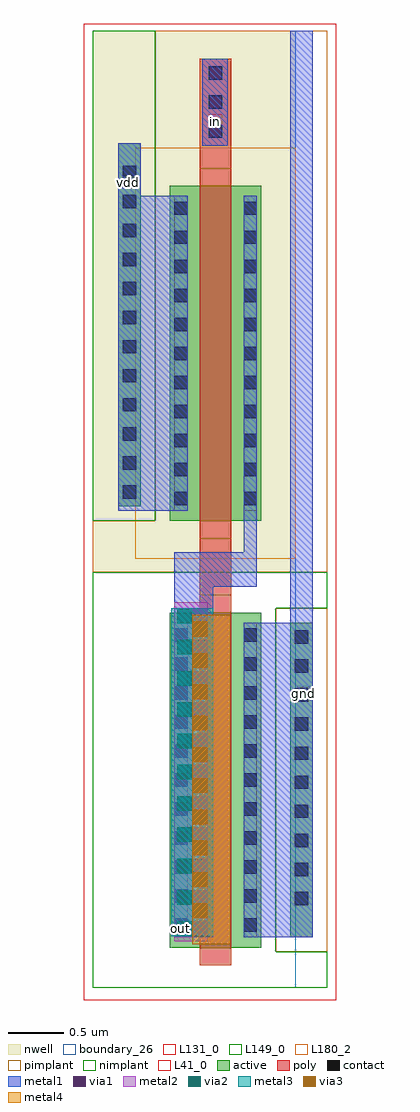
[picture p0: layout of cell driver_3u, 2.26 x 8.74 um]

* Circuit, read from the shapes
.subckt driver_3u gnd in out vdd
M1 gnd in out gnd nfet w=3u l=0.28u
M2 out in vdd vdd pfet w=3u l=0.28u
.ends

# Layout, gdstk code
from math import pi, radians
import gdstk
lib = gdstk.Library(unit=1e-6, precision=1e-09)
def R(c, l, rs):  # rectangles x0, y0, x1, y1
    for r in rs: c.add(gdstk.rectangle(r[:2], r[2:], *l))
def A(c, l, x, y, w, h, nx, ny, dx, dy):  # array of equal rectangles
    R(c, l, [(x+i*dx, y+j*dy, x+i*dx+w, y+j*dy+h) for i in range(nx) for j in range(ny)])
nwell = (3, 0)
active = (6, 0)
poly = (17, 0)
pimplant = (25, 0)
nimplant = (26, 0)
contact = (30, 0)
metal1 = (31, 0)
metal2 = (32, 0)
metal3 = (33, 0)
metal4 = (34, 0)
L41_0 = (41, 0)
via1 = (51, 0)
via2 = (52, 0)
via3 = (53, 0)
boundary_26 = (108, 26)
L131_0 = (131, 0)
L149_0 = (149, 0)
L180_2 = (180, 2)

pc_ct = lib.new_cell('pc_ct')
R(pc_ct, contact, [(0,0,0.12,0.12)])

nsvt25_cdns_578001170880 = lib.new_cell('nsvt25_CDNS_578001170880')
R(nsvt25_cdns_578001170880, active, [(-0.27,0,0,3), (-0.27,0,0.55,3), (0.28,0,0.55,3)])
R(nsvt25_cdns_578001170880, poly, [(0,-0.16,0.28,3.16)])
R(nsvt25_cdns_578001170880, nimplant, [(-0.4,-0.36,0.68,3.36)])
R(nsvt25_cdns_578001170880, metal1, [(-0.23,0.09,-0.11,2.91), (0.39,0.09,0.51,2.91)])
R(nsvt25_cdns_578001170880, L41_0, [(-0.54,-0.34,0.82,3.34)])
R(nsvt25_cdns_578001170880, L131_0, [(-0.23,0.09,-0.11,2.91), (0.39,0.09,0.51,2.91)])
R(nsvt25_cdns_578001170880, L149_0, [(0,-0.16,0.28,0), (0,3,0.28,3.16)])
r = gdstk.Reference(pc_ct, (0.39,0.14)); r.repetition = gdstk.Repetition(1, 11, v1=(0.26,0), v2=(0,0.26)); nsvt25_cdns_578001170880.add(r)
r = gdstk.Reference(pc_ct, (-0.23,0.14)); r.repetition = gdstk.Repetition(1, 11, v1=(0.26,0), v2=(0,0.26)); nsvt25_cdns_578001170880.add(r)
nsvt25_cdns_578001170880.add(gdstk.Label('d', (0.28,0), layer=6, texttype=0))
nsvt25_cdns_578001170880.add(gdstk.Label('s', (0,0), layer=6, texttype=0))
nsvt25_cdns_578001170880.add(gdstk.Label('d', (0.415,1.5), layer=127, texttype=0))
nsvt25_cdns_578001170880.add(gdstk.Label('s', (-0.135,1.5), layer=127, texttype=0))
nsvt25_cdns_578001170880.add(gdstk.Label('d', (0.45,1.5), layer=131, texttype=0))
nsvt25_cdns_578001170880.add(gdstk.Label('s', (-0.17,1.5), layer=131, texttype=0))
nsvt25_cdns_578001170880.add(gdstk.Label('g', (0.14,3.08), layer=149, texttype=0))
nsvt25_cdns_578001170880.add(gdstk.Label('g', (0.14,-0.08), layer=149, texttype=0))

psvt25_cdns_578001170881 = lib.new_cell('psvt25_CDNS_578001170881')
R(psvt25_cdns_578001170881, active, [(-0.27,0,0,3), (-0.27,0,0.55,3), (0.28,0,0.55,3)])
R(psvt25_cdns_578001170881, poly, [(0,-0.16,0.28,3.16)])
R(psvt25_cdns_578001170881, pimplant, [(-0.4,-0.36,0.68,3.36)])
R(psvt25_cdns_578001170881, metal1, [(-0.23,0.09,-0.11,2.91), (0.39,0.09,0.51,2.91)])
R(psvt25_cdns_578001170881, L41_0, [(-0.58,-0.34,0.86,3.34)])
R(psvt25_cdns_578001170881, L131_0, [(-0.23,0.09,-0.11,2.91), (0.39,0.09,0.51,2.91)])
R(psvt25_cdns_578001170881, L149_0, [(0,-0.16,0.28,0), (0,3,0.28,3.16)])
R(psvt25_cdns_578001170881, L180_2, [(-0.58,-0.34,0.86,3.34)])
r = gdstk.Reference(pc_ct, (0.39,0.14)); r.repetition = gdstk.Repetition(1, 11, v1=(0.26,0), v2=(0,0.26)); psvt25_cdns_578001170881.add(r)
r = gdstk.Reference(pc_ct, (-0.23,0.14)); r.repetition = gdstk.Repetition(1, 11, v1=(0.26,0), v2=(0,0.26)); psvt25_cdns_578001170881.add(r)
psvt25_cdns_578001170881.add(gdstk.Label('d', (0.28,0), layer=6, texttype=0))
psvt25_cdns_578001170881.add(gdstk.Label('s', (0,0), layer=6, texttype=0))
psvt25_cdns_578001170881.add(gdstk.Label('d', (0.415,1.5), layer=127, texttype=0))
psvt25_cdns_578001170881.add(gdstk.Label('s', (-0.135,1.5), layer=127, texttype=0))
psvt25_cdns_578001170881.add(gdstk.Label('d', (0.45,1.5), layer=131, texttype=0))
psvt25_cdns_578001170881.add(gdstk.Label('s', (-0.17,1.5), layer=131, texttype=0))
psvt25_cdns_578001170881.add(gdstk.Label('g', (0.14,3.08), layer=149, texttype=0))
psvt25_cdns_578001170881.add(gdstk.Label('g', (0.14,-0.08), layer=149, texttype=0))
psvt25_cdns_578001170881.add(gdstk.Label('b', (0.14,1.5), layer=180, texttype=2))

m1__po_cdns_578001170880 = lib.new_cell('M1__PO_CDNS_578001170880')
R(m1__po_cdns_578001170880, poly, [(-0.08,-0.37,0.08,0.37)])
A(m1__po_cdns_578001170880, contact, -0.06, -0.32, 0.12, 0.12, 1, 3, 0, 0.26)
R(m1__po_cdns_578001170880, metal1, [(-0.06,-0.37,0.06,0.37)])

m2_m1_s_cdns_57800117088 = lib.new_cell('M2_M1_S_CDNS_578001170881')
R(m2_m1_s_cdns_57800117088, metal1, [(-1.47,-0.115,1.47,0.115)])
R(m2_m1_s_cdns_57800117088, metal2, [(-1.515,-0.07,1.515,0.07)])
A(m2_m1_s_cdns_57800117088, via1, -1.465, -0.065, 0.13, 0.13, 11, 1, 0.28, 0)

m4_m3_s_cdns_57800117088 = lib.new_cell('M4_M3_S_CDNS_578001170882')
R(m4_m3_s_cdns_57800117088, metal3, [(-1.33,-0.115,1.33,0.115)])
R(m4_m3_s_cdns_57800117088, metal4, [(-1.375,-0.07,1.375,0.07)])
A(m4_m3_s_cdns_57800117088, via3, -1.325, -0.065, 0.13, 0.13, 10, 1, 0.28, 0)

m3_m2_s_cdns_57800117088 = lib.new_cell('M3_M2_S_CDNS_578001170883')
R(m3_m2_s_cdns_57800117088, metal2, [(-1.515,-0.07,1.515,0.07)])
R(m3_m2_s_cdns_57800117088, metal3, [(-1.47,-0.115,1.47,0.115)])
A(m3_m2_s_cdns_57800117088, via2, -1.465, -0.065, 0.13, 0.13, 11, 1, 0.28, 0)

driver_3u = lib.new_cell('driver_3u')
R(driver_3u, nwell, [(0,3.72,1.82,8.57), (0.1,3.72,1.82,8.57)])
R(driver_3u, pimplant, [(0,3.72,0.56,4.18), (0.56,3.72,1.64,3.82), (1.64,3.72,2.1,8.57), (0.56,7.54,1.64,8.57)])
R(driver_3u, nimplant, [(0,0,0.56,3.72), (1.64,0,2.1,0.32), (1.64,3.4,2.1,3.72), (0,4.18,0.56,8.57)])
A(driver_3u, contact, 1.81, 0.74, 0.12, 0.12, 1, 10, 0, 0.26)
A(driver_3u, contact, 0.27, 4.38, 0.12, 0.12, 1, 12, 0, 0.26)
R(driver_3u, metal1, [(0.85,0.45,1.08,3.59), (1.47,0.45,1.77,3.27), (0.73,3.71,1.35,3.9), (0.23,4.27,0.43,4.31), (0.43,4.27,0.73,7.09), (0.98,7.54,1.21,8.32)])
R(driver_3u, metal2, [(0.73,0.415,1.03,3.45)])
R(driver_3u, metal3, [(0.705,0.46,1.08,3.4)])
R(driver_3u, metal4, [(0.89,0.39,1.2,0.575), (1.2,0.39,1.23,3.34), (0.89,0.575,1.2,3.34)])
R(driver_3u, L41_0, [(-0.08,-0.11,2.18,8.63)])
R(driver_3u, boundary_26, [(0,0,1.82,8.57)])
R(driver_3u, L131_0, [(0.73,0.47,0.85,0.59), (1.83,2.574,1.95,2.694), (0.262,7.154,0.382,7.274), (1.04,7.7,1.16,7.82)])
driver_3u.add(gdstk.FlexPath([(1.87,3.4),(1.87,0.32)], 0.46, ends="flush", simple_path=True, layer=25, datatype=0))  # pimplant
driver_3u.add(gdstk.FlexPath([(0.33,4.18),(0.33,7.69)], 0.46, ends="flush", simple_path=True, layer=26, datatype=0))  # nimplant
driver_3u.add(gdstk.FlexPath([(1.1,3.49),(1.1,4.02)], 0.28, ends="flush", simple_path=True, layer=17, datatype=0))  # poly
driver_3u.add(gdstk.FlexPath([(1.1,7.31),(1.1,8.32)], 0.28, ends="flush", simple_path=True, layer=17, datatype=0))  # poly
driver_3u.add(gdstk.FlexPath([(1.87,3.27),(1.87,8.57)], 0.2, ends="flush", simple_path=True, layer=31, datatype=0))  # metal1
driver_3u.add(gdstk.FlexPath([(0.79,3.65),(0.79,3.27)], 0.12, ends=(0.06, 0), simple_path=True, layer=31, datatype=0))  # metal1
driver_3u.add(gdstk.FlexPath([(1.41,4.27),(1.41,3.65)], 0.12, ends=(0, 0.06), simple_path=True, layer=31, datatype=0))  # metal1
driver_3u.add(gdstk.FlexPath([(1.41,3.65),(0.79,3.65)], 0.12, ends="extended", simple_path=True, layer=31, datatype=0))  # metal1
driver_3u.add(gdstk.FlexPath([(1.87,3.27),(1.87,0.45)], 0.2, ends="flush", simple_path=True, layer=31, datatype=0))  # metal1
driver_3u.add(gdstk.FlexPath([(0.33,4.31),(0.33,7.56)], 0.2, ends="flush", simple_path=True, layer=31, datatype=0))  # metal1
driver_3u.add(gdstk.FlexPath([(1.87,3.27),(1.87,0.45)], 0.2, ends="flush", simple_path=True, layer=6, datatype=0))  # active
driver_3u.add(gdstk.FlexPath([(0.33,4.31),(0.33,7.56)], 0.2, ends="flush", simple_path=True, layer=6, datatype=0))  # active
driver_3u.add(gdstk.Reference(nsvt25_cdns_578001170880, (1.24,3.36), rotation=pi))
driver_3u.add(gdstk.Reference(psvt25_cdns_578001170881, (0.96,4.18)))
driver_3u.add(gdstk.Reference(m1__po_cdns_578001170880, (1.1,7.93)))
driver_3u.add(gdstk.Reference(m2_m1_s_cdns_57800117088, (0.96,1.93), rotation=pi/2))
driver_3u.add(gdstk.Reference(m4_m3_s_cdns_57800117088, (0.96,1.95), rotation=3*pi/2))
driver_3u.add(gdstk.Reference(m3_m2_s_cdns_57800117088, (0.82,1.93), rotation=pi/2))
driver_3u.add(gdstk.Label('gnd', (1.89,2.634), layer=131, texttype=0))
driver_3u.add(gdstk.Label('vdd', (0.322,7.214), layer=131, texttype=0))
driver_3u.add(gdstk.Label('out', (0.79,0.53), layer=131, texttype=0))
driver_3u.add(gdstk.Label('in', (1.1,7.76), layer=131, texttype=0))

lib.write_gds('driver_3u.gds')
